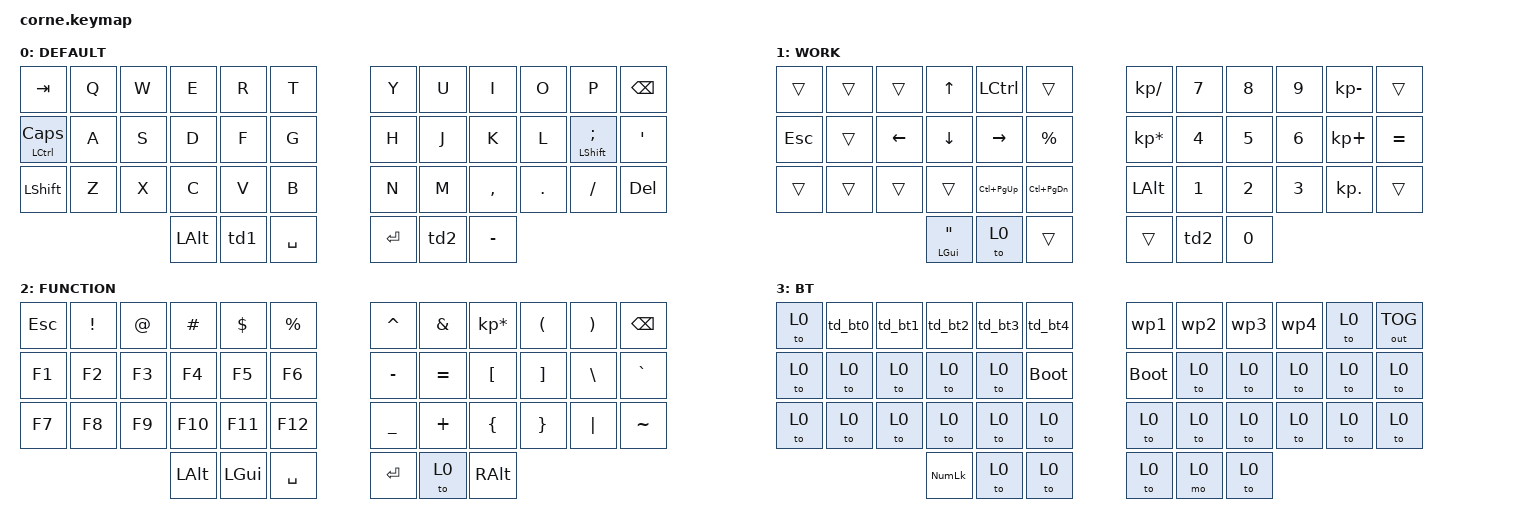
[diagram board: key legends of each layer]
/*
 * Copyright (c) 2020 The ZMK Contributors
 *
 * SPDX-License-Identifier: MIT
 */

#include <behaviors.dtsi>
#include <dt-bindings/zmk/bt.h>
#include <dt-bindings/zmk/keys.h>
#include <dt-bindings/zmk/outputs.h>
#include <dt-bindings/zmk/ext_power.h>

/ {
    macros {
        wp1: wp1 {
            compatible = "zmk,behavior-macro";
            #binding-cells = <0>;
            bindings = <&none &kp N1 &kp N1 &kp N2 &kp N7>;
            label = "WP1";
        };

        wp2: wp2 {
            compatible = "zmk,behavior-macro";
            #binding-cells = <0>;
            bindings = <&none &kp LS(J) &kp LS(T) &kp LS(B) &kp I &kp R &kp C &kp H &kp W &kp O &kp D &kp DLLR &kp N2 &kp RET>;
            label = "WP2";
        };

        wp3: wp3 {
            compatible = "zmk,behavior-macro";
            #binding-cells = <0>;
            bindings = <&none &kp J &kp O &kp N &kp A &kp T &kp H &kp A &kp N &kp DOT &kp T &kp A &kp N &kp G &kp N2 &kp TAB>;
            label = "WP3";
        };

        wp4: wp4 {
            compatible = "zmk,behavior-macro";
            #binding-cells = <0>;
            bindings = <&none &kp LS(I) &kp N &kp T &kp E &kp N &kp DLLR &kp J &kp T &kp N1 &kp RET>;
            label = "WP4";
        };

        sw1: sw1 {
            compatible = "zmk,behavior-macro";
            #binding-cells = <0>;
            bindings = <&none &kp SPACE &kp PIPE &kp SPACE>;
            label = "SW1";
        };

        sw2: sw2 {
            compatible = "zmk,behavior-macro";
            #binding-cells = <0>;
            bindings = <&none &kp SPACE &kp MINUS &kp SPACE>;
            label = "SW2";
        };
    };

    behaviors {
        td1: td1 {
            compatible = "zmk,behavior-tap-dance";
            label = "TD1";
            #binding-cells = <0>;
            bindings = <&mo 1>, <&to 1>;

            tapping-term-ms = <200>;
        };

        td2: td2 {
            compatible = "zmk,behavior-tap-dance";
            label = "TD2";
            #binding-cells = <0>;
            bindings = <&mo 2>, <&mo 3>;

            tapping-term-ms = <200>;
        };

        td_bt0: td_bt0 {
            compatible = "zmk,behavior-tap-dance";
            label = "TD_BT0";
            #binding-cells = <0>;
            bindings = <&bt BT_SEL 0>, <&bt BT_CLR>;
        };

        td_bt1: td_bt1 {
            compatible = "zmk,behavior-tap-dance";
            label = "TD_BT1";
            #binding-cells = <0>;
            bindings = <&bt BT_SEL 1>, <&bt BT_CLR>;
        };

        td_bt2: td_bt2 {
            compatible = "zmk,behavior-tap-dance";
            label = "TD_BT2";
            #binding-cells = <0>;
            bindings = <&bt BT_SEL 2>, <&bt BT_CLR>;
        };

        td_bt3: td_bt3 {
            compatible = "zmk,behavior-tap-dance";
            label = "TD_BT3";
            #binding-cells = <0>;
            bindings = <&bt BT_SEL 3>, <&bt BT_CLR>;
        };

        td_bt4: td_bt4 {
            compatible = "zmk,behavior-tap-dance";
            label = "TD_BT4";
            #binding-cells = <0>;
            bindings = <&bt BT_SEL 4>, <&bt BT_CLR>;
        };

        td_tab_esc: td_tab_esc {
            compatible = "zmk,behavior-tap-dance";
            label = "TD_TAB_ESC";
            #binding-cells = <0>;
            bindings = <&kp TAB>, <&kp ESC>;
            
            tapping-term-ms = <200>;
        };

        td_minus_equal: td_minus_equal {
            compatible = "zmk,behavior-tap-dance";
            label = "TD_MINUS_EQUAL";
            #binding-cells = <0>;
            bindings = <&kp MINUS>, <&kp EQUAL>;
            
            tapping-term-ms = <200>;
        };
    };

    keymap {
        compatible = "zmk,keymap";

        DEFAULT {
            // -----------------------------------------------------------------------------------------
            // |    TAB    |  Q  |  W  |  E  |  R  |  T  |   |  Y  |  U    |  I  |  O  |     P    | BKSP |
            // | CTRL/CAPS |  A  |  S  |  D  |  F  |  G  |   |  H  |  J    |  K  |  L  |  ;/SHFT  |  '   |
            // |   SHFT    |  Z  |  X  |  C  |  V  |  B  |   |  N  |  M    |  ,  |  .  |     /    | DEL  |
            //                         | ALT |  L1 | SPC |   | ENT | L2/L3 |  -  |

            display-name = "DEFAULT";
            bindings = <
&kp TAB             &kp Q  &kp W  &kp E         &kp R  &kp T        &kp Y    &kp U  &kp I            &kp O    &kp P                     &kp BSPC
&mt LCTRL CAPSLOCK  &kp A  &kp S  &kp D         &kp F  &kp G        &kp H    &kp J  &kp K            &kp L    &mt LEFT_SHIFT SEMICOLON  &kp SQT
&kp LSHFT           &kp Z  &kp X  &kp C         &kp V  &kp B        &kp N    &kp M  &kp COMMA        &kp DOT  &kp FSLH                  &kp DEL
                                  &kp LEFT_ALT  &td1   &kp SPACE    &kp RET  &td2   &kp MINUS
            >;
        };

        WORK {
            // -----------------------------------------------------------------------------------------
            // | TAB  |  Q |  W  |  UP   | CTRL  |   T   |   |  /   |   7   |  8  |  9  |  -  | BKSP |
            // | ESC  |  A | LFT |  DWN  |  RGHT |   %   |   |  *   |   4   |  5  |  6  |  +  |  =   |
            // | SHFT |  Z |  X  |   C   | PG_UP | PG_DN |   | ALT  |   1   |  2  |  3  |  .  | DEL  |
            //                   | "/GUI |   L0  |  SPC  |   | ENT  | L2/L3 |  0  |

            display-name = "WORK";
            bindings = <
&trans     &trans  &trans    &kp UP_ARROW                &kp LCTRL      &trans           &kp KP_SLASH        &kp N7  &kp N8  &kp N9  &kp KP_MINUS  &trans
&kp ESC    &trans  &kp LEFT  &kp DOWN                    &kp RIGHT      &kp PERCENT      &kp KP_MULTIPLY     &kp N4  &kp N5  &kp N6  &kp KP_PLUS   &kp EQUAL
&trans     &trans  &trans    &trans                      &kp LC(PG_UP)  &kp LC(PG_DN)    &kp LEFT_ALT        &kp N1  &kp N2  &kp N3  &kp KP_DOT    &trans
                             &mt LEFT_GUI DOUBLE_QUOTES  &to 0          &trans           &trans              &td2    &kp N0
            >;
        };

        FUNCTION {
            // -----------------------------------------------------------------------------------------
            // |  ESC |  !  |  @  |  #  |  $  |  %  |   |  ^  |  &  |  *  |  (  |  )  | BKSP |
            // |  F1  |  F2 |  F3 |  F4 |  F5 |  F6 |   |  -  |  =  |  [  |  ]  |  \  |  `   |
            // |  F7  |  F8 |  F9 | F10 | F11 | F12 |   |  _  |  +  |  {  |  }  | "|" |  ~   |
            //                    | ALT | GUI | SPC |   | ENT | L0  | ALT |

            display-name = "FUNCTION";
            bindings = <
&kp ESC  &kp EXCL  &kp AT  &kp HASH  &kp DLLR      &kp PRCNT    &kp CARET  &kp AMPS   &kp KP_MULTIPLY  &kp LPAR  &kp RPAR  &kp BSPC
&kp F1   &kp F2    &kp F3  &kp F4    &kp F5        &kp F6       &kp MINUS  &kp EQUAL  &kp LBKT         &kp RBKT  &kp BSLH  &kp GRAVE
&kp F7   &kp F8    &kp F9  &kp F10   &kp F11       &kp F12      &kp UNDER  &kp PLUS   &kp LBRC         &kp RBRC  &kp PIPE  &kp TILDE
                           &kp LALT  &kp LEFT_GUI  &kp SPACE    &kp RET    &to 0      &kp RIGHT_ALT
            >;
        };

        BT {
            display-name = "BT";
            bindings = <
&to 0  &td_bt0  &td_bt1  &td_bt2     &td_bt3  &td_bt4        &wp1         &wp2   &wp3   &wp4   &to 0  &out OUT_TOG
&to 0  &to 0    &to 0    &to 0       &to 0    &bootloader    &bootloader  &to 0  &to 0  &to 0  &to 0  &to 0
&to 0  &to 0    &to 0    &to 0       &to 0    &to 0          &to 0        &to 0  &to 0  &to 0  &to 0  &to 0
                         &kp KP_NUM  &to 0    &to 0          &to 0        &mo 0  &to 0
            >;
        };
    };
};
